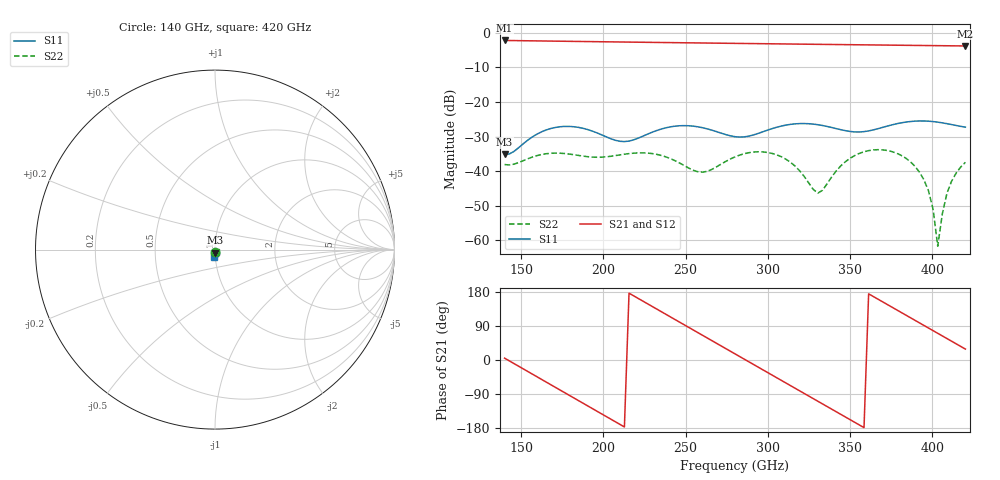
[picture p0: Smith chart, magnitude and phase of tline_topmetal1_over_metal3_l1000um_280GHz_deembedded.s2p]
! Created with skrf 2.0.1 (http://scikit-rf.org).
# GHz S DB R 50.0
!freq dBS11 angS11 dBS21 angS21 dBS12 angS12 dBS22 angS22
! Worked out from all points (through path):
!   101 points, 140 GHz to 420 GHz, reference 50 ohm
!   highest |S21| = -2.22 dB at 140 GHz (marker M1); lowest = -3.8 dB at 420 GHz (marker M2)
!   group delay of S21, straight-line fit = 6.9 ps
!   lowest |S11| = -35.1 dB at 140 GHz (marker M3), VSWR 1.04, Z = 49.9 - j1.75 ohm
!   |S11| at or under -10 dB: start of sweep to end of sweep
!   |S22| runs from -61.7 to -33.8 dB; largest |S21 - S12| = 8.1e-14
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140  -35.13 -91.8  -2.22 4.9  -2.22 4.9  -38.09 -94.1
151.2  -32.13 -62.8  -2.30 -23.1  -2.30 -23.1  -36.99 -75.0
165.2  -28.10 -70.6  -2.39 -58.0  -2.39 -58.0  -34.97 -78.6
176.4  -27.07 -85.2  -2.46 -86.0  -2.46 -86.0  -34.91 -86.8
187.6  -27.61 -98.7  -2.53 -113.9  -2.53 -113.9  -35.65 -90.5
201.6  -30.04 -104.5  -2.61 -148.8  -2.61 -148.8  -35.86 -88.1
212.8  -31.46 -91.4  -2.68 -176.7  -2.68 -176.7  -35.10 -90.3
235.2  -27.83 -81.0  -2.81 127.6  -2.81 127.6  -35.46 -110.8
257.6  -27.19 -100.6  -2.94 71.9  -2.94 71.9  -40.20 -105.4
280  -30.04 -98.3  -3.07 16.2  -3.07 16.2  -35.87 -88.5
294  -29.11 -83.4  -3.14 -18.6  -3.14 -18.6  -34.40 -108.5
308  -26.98 -84.6  -3.22 -53.4  -3.22 -53.4  -35.80 -132.4
327.6  -26.40 -98.4  -3.33 -102.0  -3.33 -102.0  -45.32 -129.6
333.2  -26.81 -101.3  -3.36 -115.9  -3.36 -115.9  -45.53 -91.1
352.8  -28.66 -95.8  -3.46 -164.6  -3.46 -164.6  -35.48 -87.6
375.2  -26.64 -84.3  -3.58 139.8  -3.58 139.8  -34.33 -135.8
386.4  -25.66 -89.1  -3.64 112.1  -3.64 112.1  -37.21 -161.5
394.8  -25.50 -94.2  -3.68 91.3  -3.68 91.3  -42.48 -179.3
400.4  -25.67 -97.3  -3.71 77.4  -3.71 77.4  -51.08 177.4
403.2  -25.83 -98.5  -3.73 70.4  -3.73 70.4  -61.68 -129.9
408.8  -26.28 -99.9  -3.75 56.6  -3.75 56.6  -46.38 -49.8
420  -27.28 -97.2  -3.81 28.8  -3.81 28.8  -37.44 -71.9
